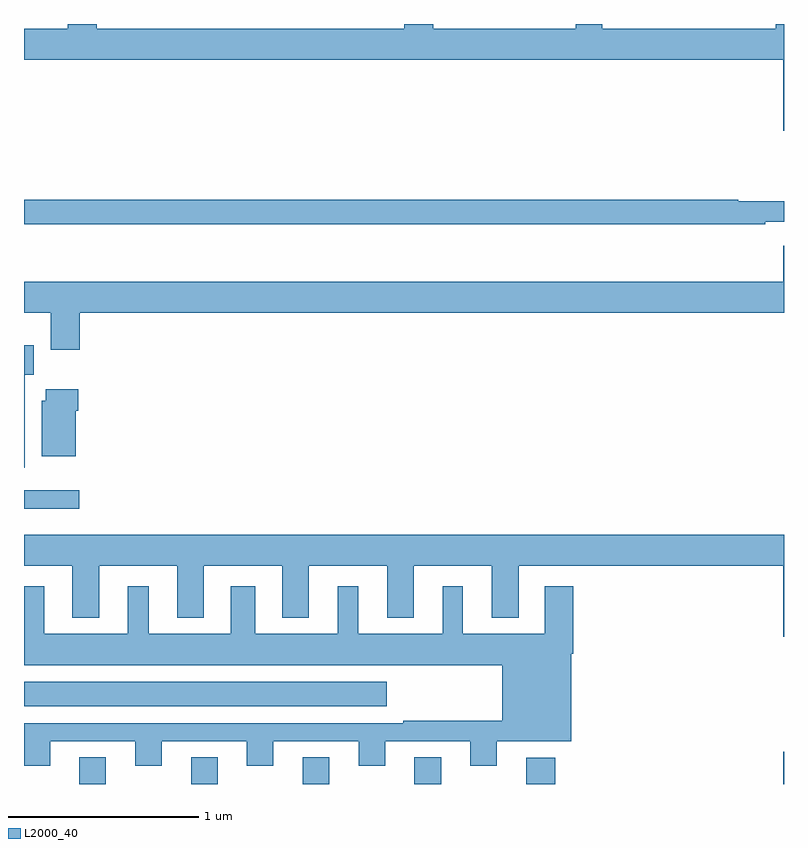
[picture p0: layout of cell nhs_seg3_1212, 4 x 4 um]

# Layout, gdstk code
import gdstk
lib = gdstk.Library(unit=1e-6, precision=1e-09)
def R(c, l, rs):  # rectangles x0, y0, x1, y1
    for r in rs: c.add(gdstk.rectangle(r[:2], r[2:], *l))
def A(c, l, x, y, w, h, nx, ny, dx, dy):  # array of equal rectangles
    R(c, l, [(x+i*dx, y+j*dy, x+i*dx+w, y+j*dy+h) for i in range(nx) for j in range(ny)])
def P(c, l, *ps):  # polygons
    for p in ps: c.add(gdstk.Polygon(p, *l))
L2000_40 = (2000, 40)

nhs_seg3_1212 = lib.new_cell('nhs_seg3_1212')
A(nhs_seg3_1212, L2000_40, 173.291, 734.4, 0.14, 0.14, 4, 1, 0.588, 0)
R(nhs_seg3_1212, L2000_40, [(175.643,734.4,175.796,734.539), (176.996,734.4,177,734.569), (173,734.81,174.91,734.938), (173,735.848,173.29,735.945)])
P(nhs_seg3_1212, L2000_40, [(177,738.4),(176.957,738.4),(176.957,738.376),(176.043,738.376),(176.043,738.4),(175.905,738.4),(175.905,738.376),(175.153,738.376),(175.153,738.4),(175.001,738.4),(175.001,738.376),(173.384,738.376),(173.384,738.4),(173.231,738.4),(173.231,738.376),(173,738.376),(173,738.212),(176.996,738.212),(176.996,737.838),(177,737.838)],
  [(176.9,737.358),(177,737.358),(177,737.467),(176.758,737.467),(176.758,737.474),(173,737.474),(173,737.346),(176.9,737.346)],
  [(173.294,736.88),(177,736.88),(177,737.233),(176.996,737.233),(176.996,737.044),(173,737.044),(173,736.88),(173.141,736.88),(173.141,736.686),(173.294,736.686)],
  [(173.005,736.554),(173.05,736.554),(173.05,736.708),(173,736.708),(173,736.065),(173.005,736.065)],
  [(173.272,736.364),(173.285,736.364),(173.285,736.477),(173.114,736.477),(173.114,736.416),(173.093,736.416),(173.093,736.124),(173.272,736.124)],
  [(177,735.712),(173,735.712),(173,735.548),(173.255,735.548),(173.255,735.275),(173.395,735.275),(173.395,735.548),(173.807,735.548),(173.807,735.275),(173.947,735.275),(173.947,735.548),(174.359,735.548),(174.359,735.275),(174.499,735.275),(174.499,735.548),(174.911,735.548),(174.911,735.275),(175.051,735.275),(175.051,735.548),(175.463,735.548),(175.463,735.275),(175.603,735.275),(175.603,735.548),(176.996,735.548),(176.996,735.174),(177,735.174)],
  [(173.137,734.625),(173.585,734.625),(173.585,734.496),(173.725,734.496),(173.725,734.625),(174.173,734.625),(174.173,734.496),(174.313,734.496),(174.313,734.625),(174.761,734.625),(174.761,734.496),(174.901,734.496),(174.901,734.625),(175.349,734.625),(175.349,734.496),(175.489,734.496),(175.489,734.624),(175.879,734.624),(175.879,735.086),(175.892,735.086),(175.892,735.442),(175.742,735.442),(175.742,735.19),(175.309,735.19),(175.309,735.442),(175.205,735.442),(175.205,735.19),(174.76,735.19),(174.76,735.442),(174.65,735.442),(174.65,735.19),(174.217,735.19),(174.217,735.442),(174.089,735.442),(174.089,735.19),(173.656,735.19),(173.656,735.442),(173.546,735.442),(173.546,735.19),(173.107,735.19),(173.107,735.442),(173,735.442),(173,735.026),(175.517,735.026),(175.517,734.734),(174.997,734.734),(174.997,734.721),(173,734.721),(173,734.496),(173.137,734.496)])

lib.write_gds('nhs_seg3_1212.gds')
